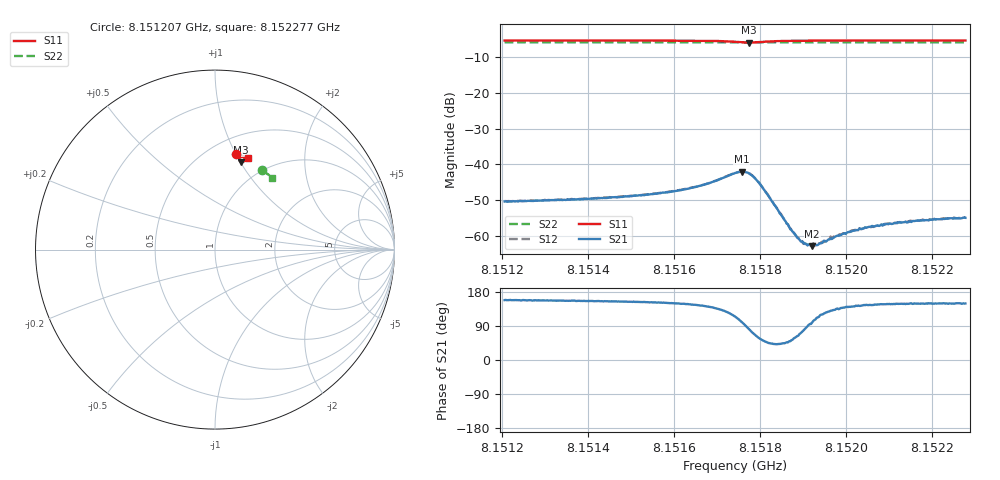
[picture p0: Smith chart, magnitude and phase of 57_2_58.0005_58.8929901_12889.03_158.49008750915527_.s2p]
#  HZ  S  RI  R  50.00
! Rohde & Schwarz Vector Network Analyzer
! Rohde-Schwarz,ZNB20-2Port,1311601062101988,3.16
! Created: UTC 3/21/2024, 12:52:50 AM
! freq[Hz]  re:S11  im:S11  re:S21  im:S21  re:S12  im:S12  re:S22  im:S22
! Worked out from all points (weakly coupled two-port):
!   401 points, 8.151207 GHz to 8.152277 GHz, reference 50 ohm
!   highest |S21| = -41.98 dB at 8.151758 GHz (marker M1); lowest = -62.9 dB at 8.151921 GHz (marker M2)
!   lowest |S11| = -5.9 dB at 8.151774 GHz (marker M3), VSWR 3.07, Z = 38.3 + j50.4 ohm
!   |S11| at or under -10 dB: nowhere
!   |S22| runs from -5.8 to -5.8 dB; largest |S21 - S12| = 0.00016
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8.1512065e9  0.1196 0.5301  -0.00281 0.00113  -0.00283 0.00118  0.2645 0.4407
8.1513858e9  0.1331 0.5269  -0.00299 0.00133  -0.003 0.00139  0.2743 0.4345
8.1514741e9  0.14 0.525  -0.00315 0.00152  -0.00318 0.00159  0.279 0.4313
8.1515651e9  0.1482 0.5223  -0.00349 0.00186  -0.00348 0.00196  0.284 0.4279
8.1516534e9  0.1577 0.517  -0.004 0.00281  -0.00398 0.00291  0.2886 0.4245
8.1516962e9  0.1632 0.5108  -0.00429 0.00405  -0.00426 0.00411  0.2911 0.4226
8.1517417e9  0.1637 0.495  -0.00316 0.0069  -0.00307 0.00697  0.2929 0.4205
8.1517578e9  0.157 0.4884  -0.00136 0.00784  -0.00127 0.00786  0.2934 0.4197
8.1517738e9  0.146 0.4875  0.00107 0.00744  0.00119 0.00746  0.2939 0.4193
8.1517872e9  0.1385 0.4928  0.00253 0.00598  0.00263 0.006  0.2944 0.4192
8.1518006e9  0.1356 0.5002  0.00295 0.00432  0.00305 0.00433  0.2951 0.4189
8.1518675e9  0.1468 0.5171  0.00087 0.00102  0.000905 0.00098  0.2991 0.4169
8.1518889e9  0.1504 0.518  0.000397 0.000826  0.000431 0.000832  0.3002 0.4161
8.1519049e9  0.1527 0.5184  9.75e-05 0.000778  0.000133 0.000768  0.3012 0.4155
8.151921e9  0.155 0.5185  -0.000118 0.000708  -0.000137 0.000746  0.302 0.4149
8.151937e9  0.1569 0.5184  -0.000319 0.000706  -0.000322 0.000715  0.3028 0.4142
8.1519692e9  0.1606 0.5183  -0.000616 0.000695  -0.000638 0.000719  0.3045 0.4131
8.1520173e9  0.1652 0.5174  -0.000927 0.000747  -0.000922 0.000739  0.307 0.411
8.1520548e9  0.1684 0.5169  -0.0011 0.00076  -0.00108 0.000776  0.3089 0.4094
8.1521003e9  0.1722 0.5159  -0.00126 0.000787  -0.00124 0.000801  0.3112 0.4077
8.1521618e9  0.1771 0.5146  -0.0014 0.000845  -0.00137 0.000896  0.3144 0.4052
8.1522769e9  0.1857 0.512  -0.00154 0.000917  -0.00155 0.000966  0.3201 0.4005
